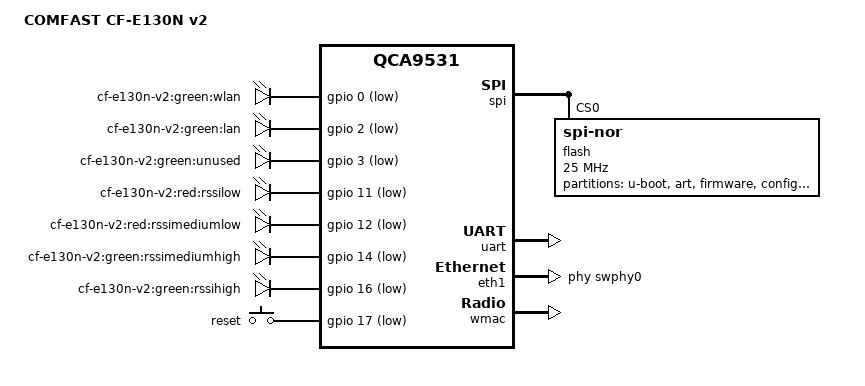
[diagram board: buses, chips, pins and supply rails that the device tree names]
// SPDX-License-Identifier: GPL-2.0-or-later OR MIT
/dts-v1/;

#include <dt-bindings/gpio/gpio.h>
#include <dt-bindings/input/input.h>

#include "qca953x.dtsi"

/ {
	compatible = "comfast,cf-e130n-v2", "qca,qca9531";
	model = "COMFAST CF-E130N v2";

	aliases {
		serial0 = &uart;
		led-boot = &led_rssihigh;
		led-failsafe = &led_rssihigh;
		led-upgrade = &led_rssihigh;
		label-mac-device = &eth1;
	};

	leds {
		compatible = "gpio-leds";

		pinctrl-names = "default";

		wlan {
			label = "cf-e130n-v2:green:wlan";
			gpios = <&gpio 0 GPIO_ACTIVE_LOW>;
			linux,default-trigger = "phy0tpt";
		};

		lan {
			label = "cf-e130n-v2:green:lan";
			gpios = <&gpio 2 GPIO_ACTIVE_LOW>;
		};

		unused {
			label = "cf-e130n-v2:green:unused";
			gpios = <&gpio 3 GPIO_ACTIVE_LOW>;
		};

		rssilow {
			label = "cf-e130n-v2:red:rssilow";
			gpios = <&gpio 11 GPIO_ACTIVE_LOW>;
		};

		rssimediumlow {
			label = "cf-e130n-v2:red:rssimediumlow";
			gpios = <&gpio 12 GPIO_ACTIVE_LOW>;
		};

		rssimediumhigh {
			label = "cf-e130n-v2:green:rssimediumhigh";
			gpios = <&gpio 14 GPIO_ACTIVE_LOW>;
		};

		led_rssihigh: rssihigh {
			label = "cf-e130n-v2:green:rssihigh";
			gpios = <&gpio 16 GPIO_ACTIVE_LOW>;
		};
	};

	keys {
		compatible = "gpio-keys";

		reset {
			label = "reset";
			linux,code = <KEY_RESTART>;
			gpios = <&gpio 17 GPIO_ACTIVE_LOW>;
			debounce-interval = <60>;
		};
	};
};

&spi {
	status = "okay";

	num-cs = <1>;

	flash@0 {
		compatible = "jedec,spi-nor";
		reg = <0>;
		spi-max-frequency = <25000000>;

		partitions {
			compatible = "fixed-partitions";
			#address-cells = <1>;
			#size-cells = <1>;

			partition@0 {
				label = "u-boot";
				reg = <0x000000 0x010000>;
				read-only;
			};

			art: partition@10000 {
				label = "art";
				reg = <0x010000 0x010000>;
				read-only;
			};

			partition@20000 {
				compatible = "denx,uimage";
				label = "firmware";
				reg = <0x020000 0x7c0000>;
			};

			partition@7e0000 {
				label = "configs";
				reg = <0x7e0000 0x010000>;
				read-only;
			};

			partition@7f0000 {
				label = "nvram";
				reg = <0x7f0000 0x010000>;
				read-only;
			};
		};
	};
};

&uart {
	status = "okay";

};

&eth0 {
	compatible = "syscon", "simple-mfd";
};

&eth1 {
	status = "okay";

	phy-handle = <&swphy0>;

	mtd-mac-address = <&art 0x0>;

	gmac-config {
		device = <&gmac>;
		switch-phy-swap = <1>;
	};
};

&wmac {
	status = "okay";

	mtd-mac-address = <&art 0x0>;
	mtd-cal-data = <&art 0x1000>;
};
